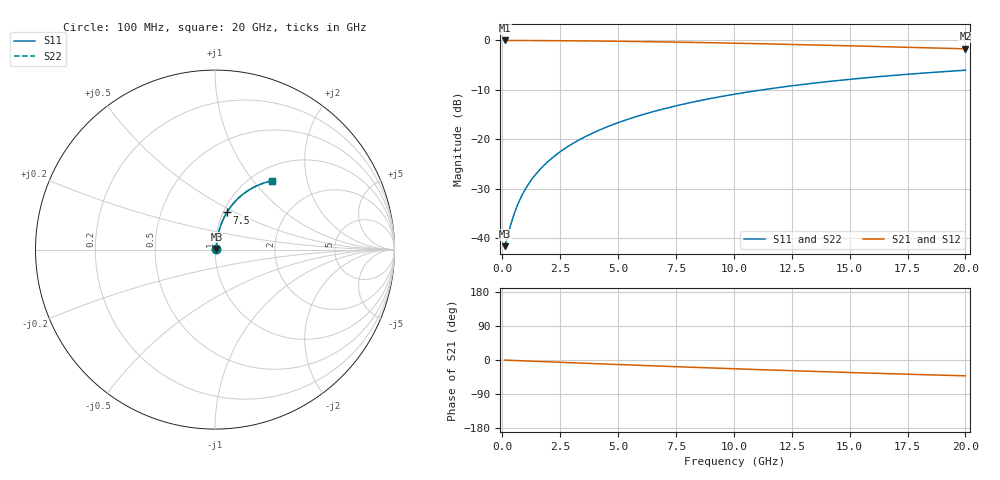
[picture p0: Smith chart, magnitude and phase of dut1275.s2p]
! Touchstone file exported from HFSS 2024.1.0
!  File:  C:/UserFiles/LocalFiles/RDL_TSV_Batchsim/temp_RDL_bottom_1275_1780246418.aedt
!  Generated:  12:56:01 AM Jun  1, 2026
!  Design:  RDL_bottom
!  Project:  temp_RDL_bottom_1275_1780246418
!  Setup:  Setup1
!  Solution:  Sweep
! Variables:
!  dtsv = 10.80580581um
!  hbump = 3um
!  htsv = 70.52um
!  ldown = 495.21um
!  lrdl = 100um
!  p = 40
!  p1 = 50.31um
!  rhole = 1um
!  t = 450um
!  tdown = 2.06um
!  trdl = 3.915915916um
!  wdown = 11.14um
!  wrdl = 20um
# GHz S MA R 50.000000
! Terminal data exported
! Port[1] = RDL1_T1
! Port[2] = RDL1_T2
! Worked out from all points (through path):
!   200 points, 100 MHz to 20 GHz, reference 50 ohm
!   highest |S21| = -0.07 dB at 100 MHz (marker M1); lowest = -1.8 dB at 20 GHz (marker M2)
!   group delay of S21, straight-line fit = 5.81 ps
!   lowest |S11| = -41.6 dB at 100 MHz (marker M3), VSWR 1.02, Z = 50.8 + j0.31 ohm
!   |S11| at or under -10 dB: start of sweep to 11.29 GHz
!   |S22| runs from -41.6 to -6.1 dB; largest |S21 - S12| = 3.2e-15
!   S11 on the Smith chart (normalised r, x): 100 MHz: 1.02, +0.01; 7.5 GHz: 1.04, +0.45; 20 GHz: 1.23, +1.25
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0.1  0.008307 21.6  0.9923 -0.3  0.9923 -0.3  0.008307 21.6
! Gamma 0 0 0 0
! Port Impedance 50 0 50 0
0.2  0.009895 38.1  0.9922 -0.5  0.9922 -0.5  0.009895 38.1
0.4  0.01458 56.5  0.992 -1.0  0.992 -1.0  0.01458 56.5
0.5  0.01725 61.6  0.9919 -1.3  0.9919 -1.3  0.01725 61.6
0.7  0.02283 67.8  0.9915 -1.7  0.9915 -1.7  0.02283 67.8
1  0.0314 72.5  0.9909 -2.5  0.9909 -2.5  0.0314 72.5
1.3  0.04002 75.0  0.9902 -3.2  0.9902 -3.2  0.04002 75.0
1.7  0.05155 76.7  0.9891 -4.2  0.9891 -4.2  0.05155 76.7
2.2  0.06598 77.7  0.9876 -5.4  0.9876 -5.4  0.06598 77.7
2.8  0.08332 78.1  0.9854 -6.8  0.9854 -6.8  0.08332 78.1
3.5  0.1036 77.9  0.9823 -8.5  0.9823 -8.5  0.1036 77.9
4.2  0.1237 77.3  0.9787 -10.1  0.9787 -10.1  0.1237 77.3
5  0.1467 76.3  0.9739 -12.0  0.9739 -12.0  0.1467 76.3
5.9  0.1723 75.0  0.9677 -14.1  0.9677 -14.1  0.1723 75.0
6.8  0.1976 73.5  0.9608 -16.1  0.9608 -16.1  0.1976 73.5
7.5  0.217 72.3  0.9549 -17.7  0.9549 -17.7  0.2169 72.3
8.7  0.2495 70.2  0.9441 -20.3  0.9441 -20.3  0.2495 70.2
10.1  0.2863 67.6  0.9303 -23.3  0.9303 -23.3  0.2862 67.6
11.7  0.3264 64.7  0.9133 -26.6  0.9133 -26.6  0.3263 64.7
13.4  0.3665 61.6  0.8943 -30.0  0.8943 -30.0  0.3665 61.6
16.7  0.4367 55.8  0.8559 -36.1  0.8559 -36.1  0.4366 55.8
20  0.4967 50.4  0.8173 -41.7  0.8173 -41.7  0.4966 50.4
